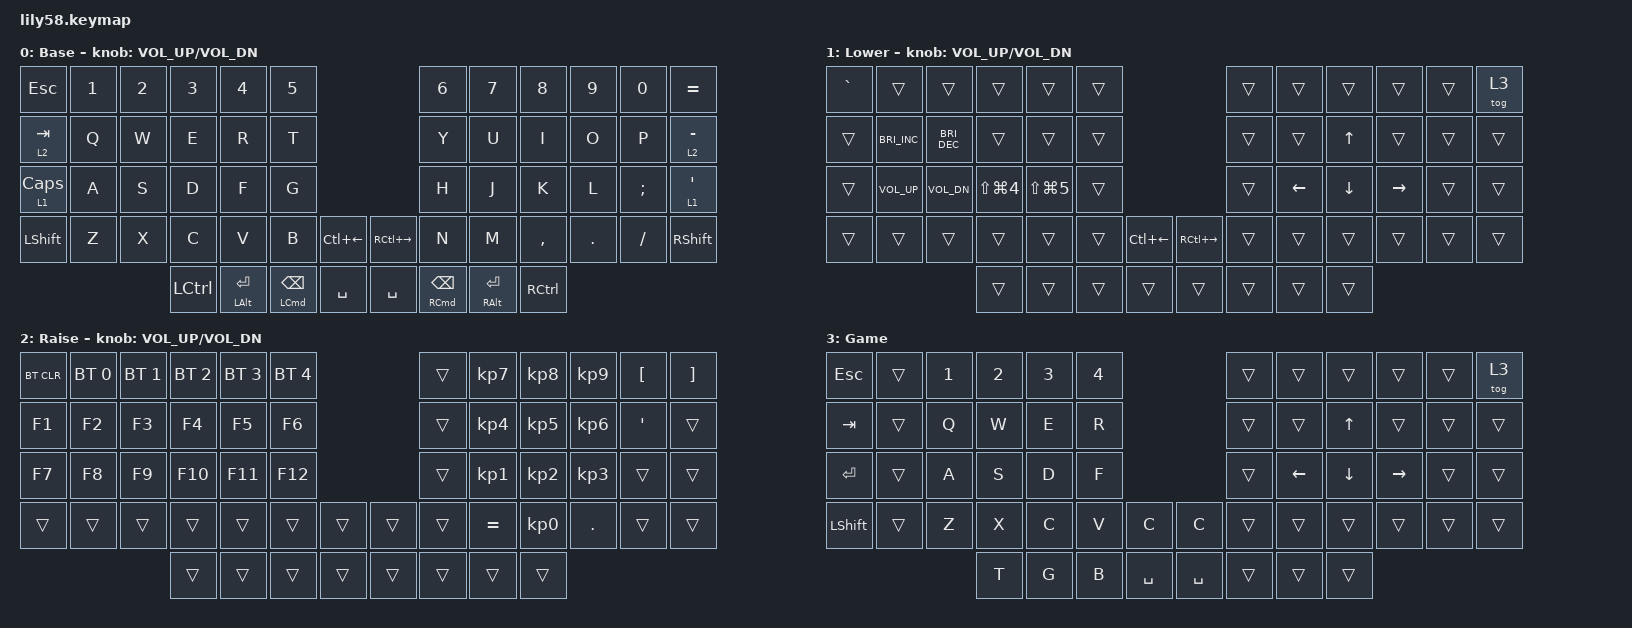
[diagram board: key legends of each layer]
/*
 * Copyright (c) 2020 The ZMK Contributors
 *
 * SPDX-License-Identifier: MIT
 */

#include <behaviors.dtsi>
#include <dt-bindings/zmk/bt.h>
#include <dt-bindings/zmk/keys.h>

/ {
    behaviors {
        hold_tap: hold_tap {
            compatible = "zmk,behavior-hold-tap";
            label = "HOLD_TAP";
            bindings = <&kp>, <&kp>;

            #binding-cells = <2>;
            tapping-term-ms = <200>;
            hold-trigger-key-positions = <53 54 52 51 50 55 56 57>;
        };

        hold_tap_mo: hold_tap_mo {
            compatible = "zmk,behavior-hold-tap";
            label = "HOLD_TAP_MO";
            bindings = <&mo>, <&kp>;

            #binding-cells = <2>;
            hold-trigger-key-positions = <24 36 23 35 53 54>;
            tapping-term-ms = <200>;
        };
    };

    keymap {
        compatible = "zmk,keymap";

        default_layer_ {
            // ------------------------------------------------------------------------------------------------------------
            // |  ESC  |  1  |  2  |  3   |  4   |  5   |                   |  6   |  7    |  8    |  9   |   0   |   `   |
            // |  TAB  |  Q  |  W  |  E   |  R   |  T   |                   |  Y   |  U    |  I    |  O   |   P   |   -   |
            // |  CTRL |  A  |  S  |  D   |  F   |  G   |                   |  H   |  J    |  K    |  L   |   ;   |   '   |
            // | SHIFT |  Z  |  X  |  C   |  V   |  B   |   "["  |  |  "]"  |  N   |  M    |  ,    |  .   |   /   | SHIFT |
            //                     | ALT  | GUI  | LOWER|  SPACE |  | ENTER | RAISE| BSPC  | GUI   |

            display-name = "Base";
            bindings = <
&kp ESC                  &kp N1  &kp N2  &kp N3            &kp N4                    &kp N5                                                           &kp N6                             &kp N7                     &kp N8             &kp N9   &kp N0         &kp EQUAL
&hold_tap_mo 2 TAB       &kp Q   &kp W   &kp E             &kp R                     &kp T                                                            &kp Y                              &kp U                      &kp I              &kp O    &kp P          &hold_tap_mo 2 MINUS
&hold_tap_mo 1 CAPSLOCK  &kp A   &kp S   &kp D             &kp F                     &kp G                                                            &kp H                              &kp J                      &kp K              &kp L    &kp SEMICOLON  &hold_tap_mo 1 SQT
&kp LSHFT                &kp Z   &kp X   &kp C             &kp V                     &kp B                             &kp LC(LEFT)    &kp RC(RIGHT)  &kp N                              &kp M                      &kp COMMA          &kp DOT  &kp FSLH       &kp RSHFT
                                         &kp LEFT_CONTROL  &hold_tap LEFT_ALT ENTER  &hold_tap LEFT_COMMAND BACKSPACE  &kp SPACE       &kp SPACE      &hold_tap RIGHT_COMMAND BACKSPACE  &hold_tap RIGHT_ALT ENTER  &kp RIGHT_CONTROL
            >;

            sensor-bindings = <&inc_dec_kp C_VOL_UP C_VOL_DN>;
        };

        lower_layer {
            // ------------------------------------------------------------------------------------------------------------
            // | BTCLR | BT1 | BT2 |  BT3 |  BT4 |  BT5 |                   |      |       |       |      |       |       |
            // |  F1   |  F2 |  F3 |  F4  |  F5  |  F6  |                   |  F7  |  F8   |  F9   |  F10 |  F11  |  F12  |
            // |   `   |  !  |  @  |  #   |  $   |  %   |                   |  ^   |  &    |  *    |  (   |   )   |   ~   |
            // |       |     |     |      |      |      |        |  |       |      |  _    |  +    |  {   |   }   |  "|"  |
            //                     |      |      |      |        |  |       |      |       |       |

            display-name = "Lower";
            bindings = <
&kp GRAVE  &trans                &trans                &trans                &trans                &trans                                 &trans  &trans    &trans    &trans     &trans  &tog 3
&trans     &kp C_BRIGHTNESS_INC  &kp C_BRIGHTNESS_DEC  &trans                &trans                &trans                                 &trans  &trans    &kp UP    &trans     &trans  &trans
&trans     &kp C_VOLUME_UP       &kp C_VOL_DN          &kp LS(LG(NUMBER_4))  &kp LS(LG(NUMBER_5))  &trans                                 &trans  &kp LEFT  &kp DOWN  &kp RIGHT  &trans  &trans
&trans     &trans                &trans                &trans                &trans                &trans  &kp LC(LEFT)    &kp RC(RIGHT)  &trans  &trans    &trans    &trans     &trans  &trans
                                                       &trans                &trans                &trans  &trans          &trans         &trans  &trans    &trans
            >;

            sensor-bindings = <&inc_dec_kp C_VOL_UP C_VOL_DN>;
        };

        raise_layer {
            // ------------------------------------------------------------------------------------------------------------
            // |       |     |     |      |      |      |                   |      |       |       |      |       |       |
            // |   `   |  1  |  2  |  3   |  4   |  5   |                   |  6   |   7   |   8   |  9   |   0   |       |
            // |   F1  |  F2 |  F3 |  F4  |  F5  |  F6  |                   |      |   <-  |   v   |  ^   |  ->   |       |
            // |   F7  |  F8 |  F9 |  F10 |  F11 |  F12 |        |  |       |  +   |   -   |   =   |  [   |   ]   |   \   |
            //                     |      |      |      |        |  |       |      |       |       |

            display-name = "Raise";
            bindings = <
&bt BT_CLR  &bt BT_SEL 0  &bt BT_SEL 1  &bt BT_SEL 2  &bt BT_SEL 3  &bt BT_SEL 4                    &trans  &kp KP_NUMBER_7  &kp KP_NUMBER_8  &kp KP_NUMBER_9  &kp LEFT_BRACKET  &kp RIGHT_BRACKET
&kp F1      &kp F2        &kp F3        &kp F4        &kp F5        &kp F6                          &trans  &kp KP_NUMBER_4  &kp KP_NUMBER_5  &kp KP_NUMBER_6  &kp SQT           &trans
&kp F7      &kp F8        &kp F9        &kp F10       &kp F11       &kp F12                         &trans  &kp KP_NUMBER_1  &kp KP_NUMBER_2  &kp KP_NUMBER_3  &trans            &trans
&trans      &trans        &trans        &trans        &trans        &trans        &trans    &trans  &trans  &kp EQUAL        &kp KP_NUMBER_0  &kp PERIOD       &trans            &trans
                                        &trans        &trans        &trans        &trans    &trans  &trans  &trans           &trans
            >;

            sensor-bindings = <&inc_dec_kp C_VOL_UP C_VOL_DN>;
        };

        Game {
            bindings = <
&kp ESC         &trans  &kp N1  &kp N2  &kp N3  &kp N4                          &trans  &trans    &trans    &trans     &trans  &tog 3
&kp TAB         &trans  &kp Q   &kp W   &kp E   &kp R                           &trans  &trans    &kp UP    &trans     &trans  &trans
&kp ENTER       &trans  &kp A   &kp S   &kp D   &kp F                           &trans  &kp LEFT  &kp DOWN  &kp RIGHT  &trans  &trans
&kp LEFT_SHIFT  &trans  &kp Z   &kp X   &kp C   &kp V   &kp C        &kp C      &trans  &trans    &trans    &trans     &trans  &trans
                                &kp T   &kp G   &kp B   &kp SPACE    &kp SPACE  &trans  &trans    &trans
            >;
        };
    };
};
